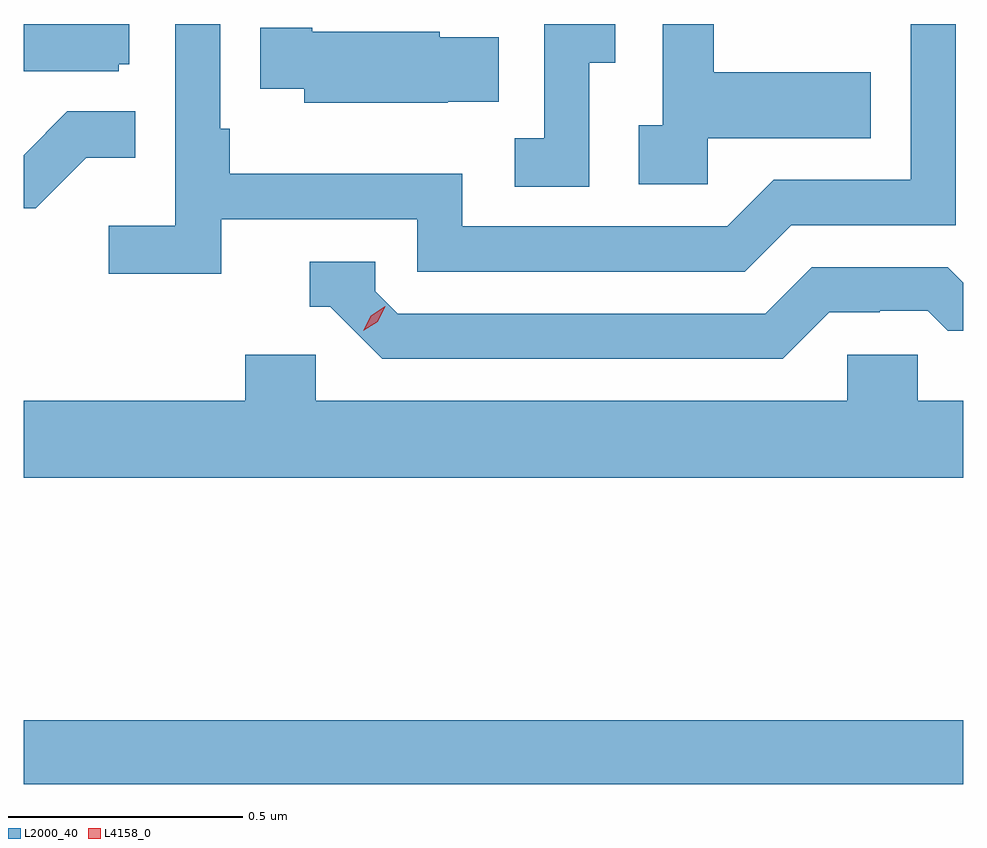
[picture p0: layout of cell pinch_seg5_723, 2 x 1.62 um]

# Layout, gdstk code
import gdstk
lib = gdstk.Library(unit=1e-6, precision=1e-09)
def R(c, l, rs):  # rectangles x0, y0, x1, y1
    for r in rs: c.add(gdstk.rectangle(r[:2], r[2:], *l))
def P(c, l, *ps):  # polygons
    for p in ps: c.add(gdstk.Polygon(p, *l))
L2000_40 = (2000, 40)
L4158_0 = (4158, 0)

pinch_seg5_723 = lib.new_cell('pinch_seg5_723')
R(pinch_seg5_723, L2000_40, [(1083.026,852.112,1085.026,852.248)])
P(pinch_seg5_723, L2000_40, [(1083.446,853.314),(1083.864,853.314),(1083.864,853.203),(1084.561,853.203),(1084.66,853.302),(1085.01,853.302),(1085.01,853.73),(1084.914,853.73),(1084.914,853.398),(1084.623,853.398),(1084.524,853.299),(1083.96,853.299),(1083.96,853.411),(1083.464,853.411),(1083.464,853.507),(1083.444,853.507),(1083.444,853.73),(1083.348,853.73),(1083.348,853.3),(1083.207,853.3),(1083.207,853.198),(1083.446,853.198)],
  [(1084.482,853.487),(1084.829,853.487),(1084.829,853.627),(1084.495,853.627),(1084.495,853.73),(1084.386,853.73),(1084.386,853.514),(1084.335,853.514),(1084.335,853.389),(1084.482,853.389)],
  [(1084.23,853.648),(1084.285,853.648),(1084.285,853.73),(1084.134,853.73),(1084.134,853.487),(1084.071,853.487),(1084.071,853.384),(1084.23,853.384)],
  [(1083.228,853.644),(1083.25,853.644),(1083.25,853.73),(1083.026,853.73),(1083.026,853.629),(1083.228,853.629)],
  [(1083.929,853.565),(1084.037,853.565),(1084.037,853.702),(1083.912,853.702),(1083.912,853.714),(1083.64,853.714),(1083.64,853.722),(1083.529,853.722),(1083.529,853.592),(1083.623,853.592),(1083.623,853.562),(1083.929,853.562)],
  [(1083.159,853.445),(1083.263,853.445),(1083.263,853.544),(1083.119,853.544),(1083.026,853.451),(1083.026,853.338),(1083.052,853.338)],
  [(1084.741,853.116),(1084.848,853.116),(1084.848,853.119),(1084.951,853.119),(1084.993,853.077),(1085.026,853.077),(1085.026,853.179),(1084.993,853.212),(1084.704,853.212),(1084.605,853.113),(1083.822,853.113),(1083.774,853.161),(1083.774,853.224),(1083.635,853.224),(1083.635,853.128),(1083.678,853.128),(1083.789,853.017),(1084.642,853.017)],
  [(1085.026,852.928),(1084.929,852.928),(1084.929,853.026),(1084.779,853.026),(1084.779,852.928),(1083.648,852.928),(1083.648,853.026),(1083.497,853.026),(1083.497,852.928),(1083.026,852.928),(1083.026,852.764),(1085.026,852.764)])
P(pinch_seg5_723, L4158_0, [(1083.749,853.077),(1083.749,853.077),(1083.765,853.109),(1083.796,853.129),(1083.796,853.129),(1083.796,853.128),(1083.78,853.096),(1083.749,853.077)])

lib.write_gds('pinch_seg5_723.gds')
